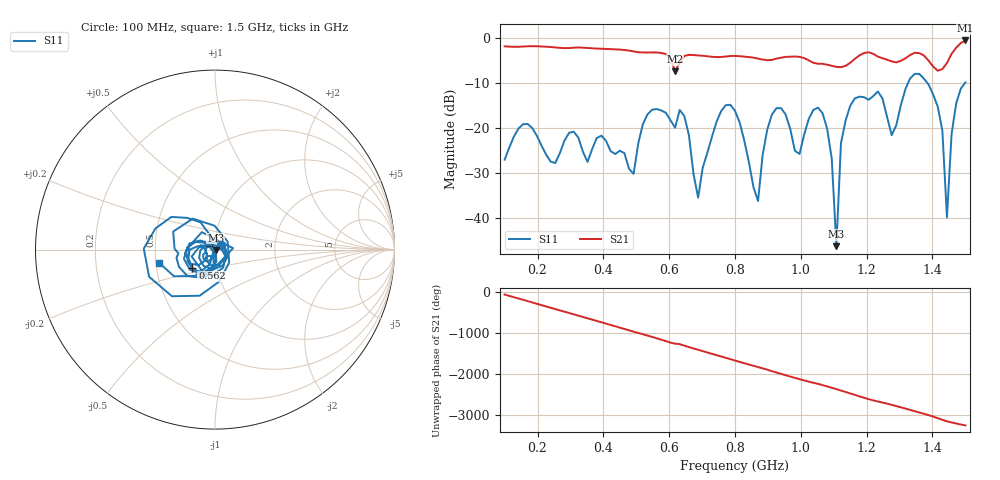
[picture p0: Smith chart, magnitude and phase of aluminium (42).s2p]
! NanoVNA-App
! Date: 2025-09-25 14:55:36
! Start: 100MHz Stop: 1,5GHz Points: 101
! S-Parameter data: F S11 S21 S12 S22
# Hz S RI R 50
!  Frequency  S11_Real  S11_Imag  S21_Real  S21_Imag  S12_Real  S12_Imag  S22_Real  S22_Imag
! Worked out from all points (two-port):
!   101 points, 100 MHz to 1.5 GHz, reference 50 ohm
!   highest |S21| = -0.62 dB at 1.5 GHz (marker M1); lowest = -7.4 dB at 618 MHz (marker M2)
!   |S21| within 3 dB of the highest: start of sweep to 589.8 MHz; 1.458 GHz to end of sweep (the widest 2 of 4)
!   lowest |S11| = -46.1 dB at 1.108 GHz (marker M3), VSWR 1.01, Z = 50.4 - j0.236 ohm
!   |S11| at or under -10 dB: start of sweep to 1.326 GHz; 1.384 GHz to 1.499 GHz (115 MHz wide, 7.97 % of centre)
!   S12 and S22 are empty: the file has one direction only
!   S11 on the Smith chart (normalised r, x): 100 MHz: 1.07, +0.06; 562 MHz: 0.76, -0.16; 1.5 GHz: 0.52, -0.09
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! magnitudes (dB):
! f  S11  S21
! 100 MHz  -27.0  -1.9
! 338 MHz  -25.2  -2.2
! 492 MHz  -30.1  -3.0
! 562 MHz  -15.8  -3.3
! 576 MHz  -16.1  -3.4
! 618 MHz  -19.9  -7.4
! 688 MHz  -35.4  -3.9
! 800 MHz  -16.2  -4.0
! 870 MHz  -36.2  -4.6
! 912 MHz  -17.0  -4.9
! 996 MHz  -25.7  -4.3
! 1.038 GHz  -16.0  -5.6
! 1.08 GHz  -20.2  -6.0
! 1.108 GHz  -46.1  -6.5
! 1.122 GHz  -23.3  -6.5
! 1.15 GHz  -15.1  -5.6
! 1.276 GHz  -21.6  -5.3
! 1.388 GHz  -10.4  -5.1
! 1.43 GHz  -20.6  -7.0
! 1.444 GHz  -39.8  -5.6
! 1.458 GHz  -21.3  -3.6
! 1.5 GHz  -9.9  -0.6
